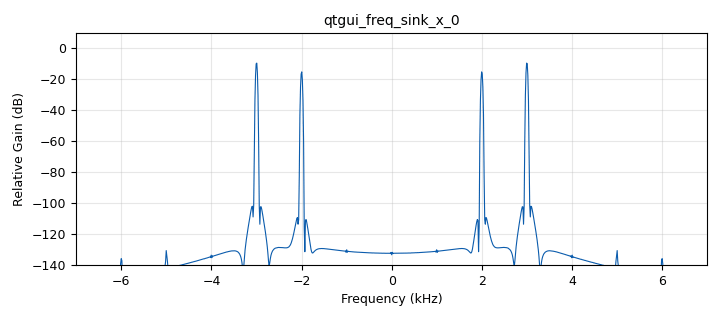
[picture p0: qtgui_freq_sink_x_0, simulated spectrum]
options:
  parameters:
    author: maheswaran
    generate_options: qt_gui
    id: samp_tones
    output_language: python
    title: Not titled yet
  states: {}

blocks:
- name: D
  id: variable_qtgui_range
  parameters:
    start: '1'
    step: '1'
    stop: '6'
    value: '1'
  states: {}
- name: freq1
  id: variable_qtgui_range
  parameters:
    start: 1e3
    step: 1e3
    stop: samp_rate
    value: 2e3
  states: {}
- name: freq2
  id: variable_qtgui_range
  parameters:
    start: 1e3
    step: 1e3
    stop: 24e3
    value: 3e3
  states: {}
- name: samp_rate
  id: variable
  parameters:
    value: 14e3
  states: {}
- name: analog_sig_source_x_0
  id: analog_sig_source_x
  parameters:
    amp: '1'
    freq: freq1
    offset: '0'
    phase: '0'
    samp_rate: samp_rate
    type: float
    waveform: analog.GR_COS_WAVE
  states: {}
- name: analog_sig_source_x_0_0
  id: analog_sig_source_x
  parameters:
    amp: '2'
    freq: freq2
    offset: '0'
    phase: '0'
    samp_rate: samp_rate
    type: float
    waveform: analog.GR_COS_WAVE
  states: {}
- name: blocks_add_xx_0
  id: blocks_add_xx
  parameters:
    type: float
  states: {}
- name: mmse_resampler_xx_0
  id: mmse_resampler_xx
  parameters:
    phase_shift: '0'
    resamp_ratio: D
    type: float
  states: {}
- name: qtgui_freq_sink_x_0
  id: qtgui_freq_sink_x
  parameters:
    bw: samp_rate/D
    fc: '0'
    fftsize: '1024'
    type: float
    update_time: '0.01'
  states: {}
- name: qtgui_time_sink_x_0
  id: qtgui_time_sink_x
  parameters:
    size: '1024'
    srate: samp_rate
    type: float
  states: {state: disabled}
- name: rational_resampler_xxx_0
  id: rational_resampler_xxx
  parameters:
    decim: D
    interp: '1'
    taps: '1'
    type: fff
  states: {state: disabled}

connections:
- [analog_sig_source_x_0, '0', blocks_add_xx_0, '0']
- [analog_sig_source_x_0_0, '0', blocks_add_xx_0, '1']
- [blocks_add_xx_0, '0', mmse_resampler_xx_0, '0']
- [mmse_resampler_xx_0, '0', qtgui_freq_sink_x_0, '0']

metadata:
  file_format: 1
  grc_version: 3.10.10.0
